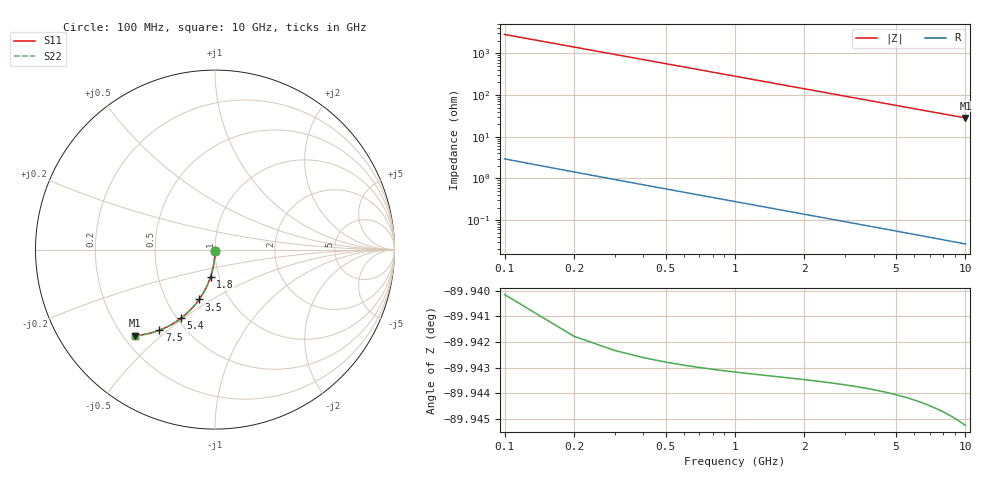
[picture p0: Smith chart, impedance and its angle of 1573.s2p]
# Hz S RI R 50.00
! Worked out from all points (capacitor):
!   100 points, 100 MHz to 10 GHz, reference 50 ohm
!   read as one part in shunt: C = 564 fF near 100 MHz
!   lowest |Z| = 28.3 ohm at 10 GHz (marker M1)
!   S11 on the Smith chart (normalised r, x): 100 MHz: 1.00, -0.02; 1.8 GHz: 0.91, -0.28; 3.5 GHz: 0.73, -0.44; 5.4 GHz: 0.53, -0.49; 7.5 GHz: 0.37, -0.47; 10 GHz: 0.25, -0.41
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1e8  -5e-05 -0.00869  0.9999 -0.00902  0.9999 -0.00902  -5e-05 -0.00869
2e8  -0.000294 -0.0174  0.9996 -0.018  0.9996 -0.018  -0.000294 -0.0174
3e8  -0.000694 -0.0261  0.9992 -0.0271  0.9992 -0.0271  -0.000694 -0.0261
4e8  -0.00125 -0.0347  0.9987 -0.0361  0.9987 -0.0361  -0.00125 -0.0347
5e8  -0.00196 -0.0434  0.998 -0.045  0.998 -0.045  -0.00196 -0.0434
6e8  -0.00283 -0.052  0.9971 -0.054  0.9971 -0.054  -0.00283 -0.052
8e8  -0.00503 -0.0692  0.9949 -0.0719  0.9949 -0.0719  -0.00503 -0.0692
1.1e9  -0.00947 -0.0947  0.9904 -0.0984  0.9904 -0.0984  -0.00947 -0.0947
1.4e9  -0.0152 -0.1199  0.9847 -0.1246  0.9847 -0.1246  -0.0152 -0.1199
1.8e9  -0.025 -0.1526  0.9749 -0.1587  0.9749 -0.1587  -0.025 -0.1526
2.1e9  -0.0337 -0.1765  0.9662 -0.1836  0.9662 -0.1836  -0.0337 -0.1765
2.5e9  -0.0471 -0.2072  0.9528 -0.2156  0.9528 -0.2156  -0.0471 -0.2072
2.9e9  -0.0624 -0.2366  0.9375 -0.2463  0.9375 -0.2463  -0.0624 -0.2366
3.4e9  -0.0838 -0.271  0.916 -0.2825  0.916 -0.2825  -0.0838 -0.271
3.5e9  -0.0884 -0.2776  0.9114 -0.2894  0.9114 -0.2894  -0.0884 -0.2776
4.3e9  -0.1279 -0.3263  0.8719 -0.3409  0.8719 -0.3409  -0.1279 -0.3263
5.1e9  -0.1713 -0.3677  0.8285 -0.385  0.8285 -0.385  -0.1713 -0.3677
5.4e9  -0.1882 -0.3813  0.8115 -0.3997  0.8115 -0.3997  -0.1882 -0.3813
6.7e9  -0.2636 -0.4287  0.736 -0.4517  0.736 -0.4517  -0.2636 -0.4287
7.5e9  -0.3101 -0.4492  0.6895 -0.475  0.6895 -0.475  -0.3101 -0.4492
8.4e9  -0.3611 -0.4654  0.6384 -0.4944  0.6384 -0.4944  -0.3611 -0.4654
1e10  -0.4457 -0.4792  0.5537 -0.514  0.5537 -0.514  -0.4457 -0.4792
